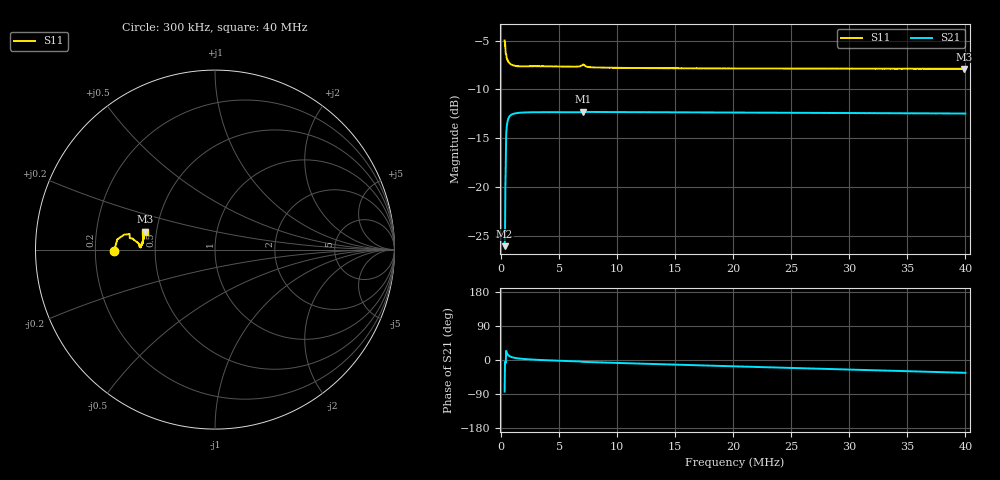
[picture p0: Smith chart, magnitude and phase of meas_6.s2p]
# HZ S RI R 50
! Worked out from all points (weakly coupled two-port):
!   1206 points, 300 kHz to 40 MHz, reference 50 ohm
!   highest |S21| = -12.31 dB at 7.087 MHz (marker M1); lowest = -26.1 dB at 300 kHz (marker M2)
!   lowest |S11| = -7.9 dB at 39.9 MHz (marker M3), VSWR 2.35, Z = 21.6 + j5.11 ohm
!   |S11| at or under -10 dB: nowhere
!   S12 and S22 are empty: the file has one direction only
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300000  -0.5626 -0.00919  0.00563 -0.0493  0 0  0 0
398838  -0.4759 0.0865  0.127 -0.0178  0 0  0 0
530622  -0.4457 0.0503  0.2043 0.0603  0 0  0 0
563568  -0.4413 0.0472  0.2107 0.0558  0 0  0 0
596514  -0.4374 0.0443  0.2154 0.052  0 0  0 0
629460  -0.4342 0.0418  0.2189 0.0485  0 0  0 0
695352  -0.4297 0.038  0.2244 0.0428  0 0  0 0
794190  -0.4252 0.0334  0.229 0.0364  0 0  0 0
958920  -0.4203 0.0275  0.2337 0.0291  0 0  0 0
1255434  -0.4162 0.0207  0.2373 0.0213  0 0  0 0
2177922  -0.4145 0.0129  0.2406 0.00904  0 0  0 0
6329118  -0.4124 0.0191  0.2407 -0.0142  0 0  0 0
6922146  -0.4174 0.0147  0.2415 -0.02  0 0  0 0
7086876  -0.4226 0.0226  0.2415 -0.0206  0 0  0 0
7350444  -0.4124 0.0284  0.2411 -0.0221  0 0  0 0
7976418  -0.4087 0.0259  0.2407 -0.0245  0 0  0 0
1.354429e7  -0.4043 0.0359  0.2369 -0.0457  0 0  0 0
2.016644e7  -0.4011 0.0509  0.2301 -0.0693  0 0  0 0
2.678858e7  -0.398 0.0671  0.2212 -0.0917  0 0  0 0
3.341073e7  -0.3944 0.0832  0.2104 -0.1127  0 0  0 0
3.990109e7  -0.3901 0.0992  0.1975 -0.1318  0 0  0 0
3.999993e7  -0.3903 0.0991  0.1973 -0.1321  0 0  0 0
